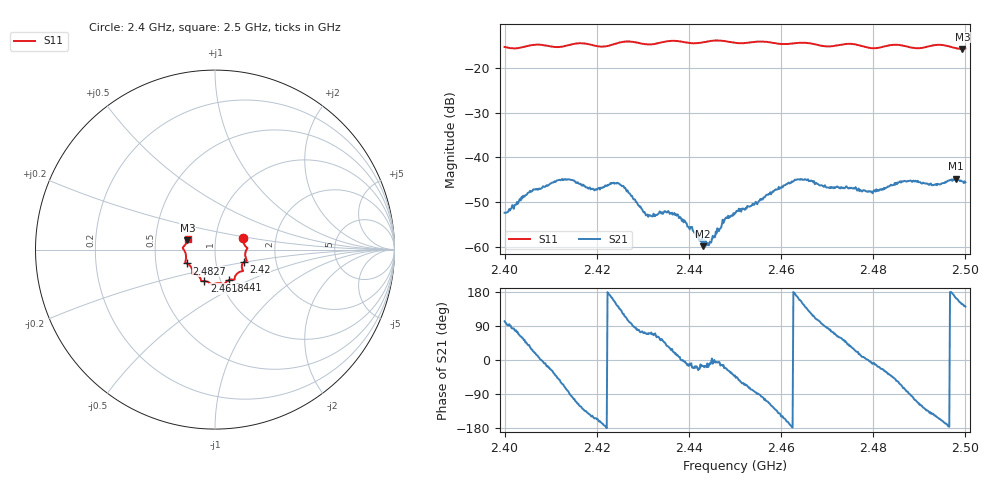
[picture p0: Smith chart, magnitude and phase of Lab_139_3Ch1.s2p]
# Hz S RI R 50
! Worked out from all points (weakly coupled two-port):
!   601 points, 2.4 GHz to 2.5 GHz, reference 50 ohm
!   highest |S21| = -44.73 dB at 2.498 GHz (marker M1); lowest = -59.8 dB at 2.443 GHz (marker M2)
!   lowest |S11| = -15.8 dB at 2.4993 GHz (marker M3), VSWR 1.39, Z = 36.5 + j3.84 ohm
!   |S11| at or under -10 dB: start of sweep to end of sweep
!   S12 and S22 are empty: the file has one direction only
!   S11 on the Smith chart (normalised r, x): 2.4 GHz: 1.36, +0.18; 2.42 GHz: 1.36, -0.20; 2.441 GHz: 1.10, -0.39; 2.4618 GHz: 0.84, -0.30; 2.4827 GHz: 0.72, -0.12; 2.5 GHz: 0.73, +0.09
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2.4e9  0.1585 0.0628  -0.00051 0.00236  0 0  0 0
2.405667e9  0.1776 0.0118  0.00354 0.00213  0 0  0 0
2.411333e9  0.1687 -0.0201  0.00394 -0.00388  0 0  0 0
2.416667e9  0.1772 -0.061  -0.00275 -0.00404  0 0  0 0
2.42e9  0.1595 -0.0704  -0.00399 -0.00173  0 0  0 0
2.424667e9  0.1532 -0.1113  -0.00403 0.00318  0 0  0 0
2.430667e9  0.1301 -0.1285  0.000771 0.00212  0 0  0 0
2.433333e9  0.1114 -0.1508  0.00113 0.00205  0 0  0 0
2.437167e9  0.1073 -0.1678  0.00222 0.000691  0 0  0 0
2.441e9  0.0785 -0.1697  0.00142 -0.000504  0 0  0 0
2.443e9  0.061 -0.1815  0.000983 -0.000284  0 0  0 0
2.444333e9  0.0542 -0.1898  0.00101 -0.000264  0 0  0 0
2.447667e9  0.0452 -0.1931  0.00182 -0.000728  0 0  0 0
2.45e9  0.0286 -0.1874  0.00181 -0.00157  0 0  0 0
2.461833e9  -0.0593 -0.1753  -0.00502 -0.000925  0 0  0 0
2.466667e9  -0.0786 -0.1683  -0.00275 0.0047  0 0  0 0
2.479333e9  -0.1312 -0.1014  0.00419 -0.000293  0 0  0 0
2.482667e9  -0.1559 -0.0773  0.00391 -0.00237  0 0  0 0
2.483333e9  -0.1601 -0.0753  0.00382 -0.00277  0 0  0 0
2.498e9  -0.1614 0.0338  -0.00554 0.00172  0 0  0 0
2.499333e9  -0.154 0.0512  -0.00455 0.00289  0 0  0 0
2.5e9  -0.1524 0.0606  -0.00409 0.00333  0 0  0 0
